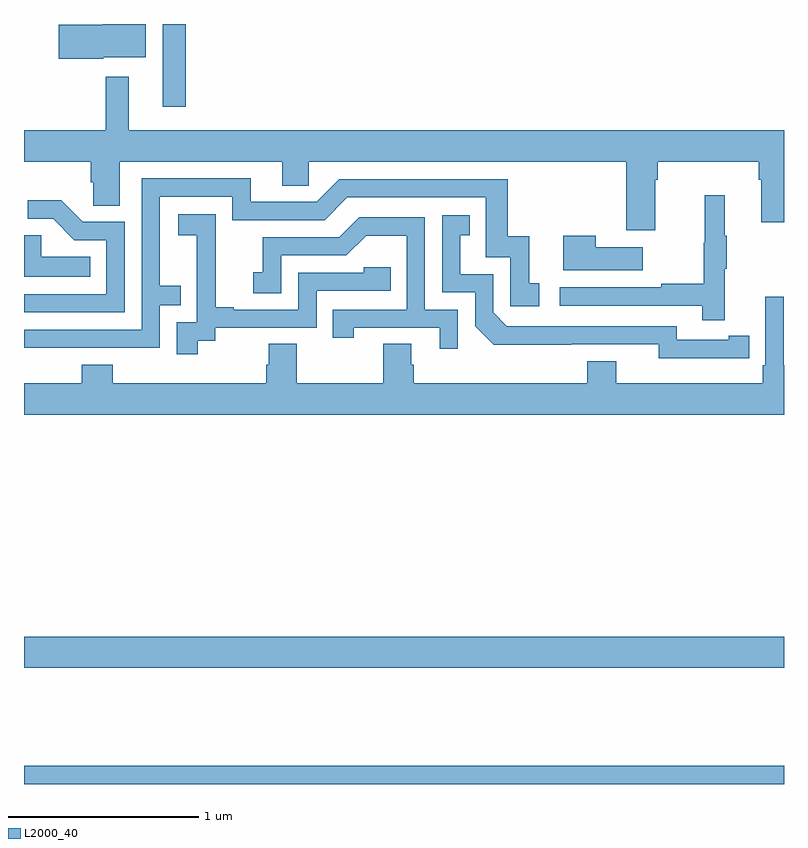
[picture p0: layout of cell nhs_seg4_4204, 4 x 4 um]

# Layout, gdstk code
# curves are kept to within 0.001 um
import gdstk
lib = gdstk.Library(unit=1e-6, precision=1e-09)
def R(c, l, rs):  # rectangles x0, y0, x1, y1
    for r in rs: c.add(gdstk.rectangle(r[:2], r[2:], *l))
def P(c, l, *ps):  # polygons
    for p in ps: c.add(gdstk.Polygon(p, *l))
L2000_40 = (2000, 40)

nhs_seg4_4204 = lib.new_cell('nhs_seg4_4204')
R(nhs_seg4_4204, L2000_40, [(335,770.9,339,770.996), (335,771.512,339,771.676), (335.729,774.465,335.851,774.9)])
P(nhs_seg4_4204, L2000_40, [(335.418,774.725),(335.641,774.725),(335.641,774.9),(335.414,774.9),(335.414,774.896),(335.184,774.896),(335.184,774.718),(335.418,774.718)],
  [(338.323,774.08),(338.336,774.08),(338.336,774.176),(338.867,774.176),(338.867,774.08),(338.879,774.08),(338.879,773.856),(339,773.856),(339,774.34),(335.551,774.34),(335.551,774.622),(335.43,774.622),(335.43,774.34),(335,774.34),(335,774.176),(335.351,774.176),(335.351,774.067),(335.364,774.067),(335.364,773.944),(335.503,773.944),(335.503,774.176),(336.359,774.176),(336.359,774.049),(336.498,774.049),(336.498,774.176),(338.171,774.176),(338.171,773.814),(338.323,773.814)],
  [(335.219,773.196),(335.715,773.196),(335.715,773.421),(335.825,773.421),(335.825,773.522),(335.715,773.522),(335.715,773.991),(336.096,773.991),(336.096,773.868),(336.582,773.868),(336.702,773.988),(337.431,773.988),(337.431,773.673),(337.56,773.673),(337.56,773.415),(337.711,773.415),(337.711,773.535),(337.658,773.535),(337.658,773.782),(337.547,773.782),(337.547,774.084),(336.66,774.084),(336.54,773.964),(336.193,773.964),(336.193,774.087),(335.619,774.087),(335.619,773.292),(335,773.292),(335,773.195)],
  [(338.687,773.611),(338.698,773.611),(338.698,773.785),(338.687,773.785),(338.687,773.998),(338.584,773.998),(338.584,773.748),(338.577,773.748),(338.577,773.534),(338.353,773.534),(338.353,773.514),(337.821,773.514),(337.821,773.418),(338.569,773.418),(338.569,773.34),(338.687,773.34)],
  [(335.529,773.859),(335.31,773.859),(335.197,773.972),(335.019,773.972),(335.019,773.874),(335.153,773.874),(335.264,773.763),(335.433,773.763),(335.433,773.478),(335,773.478),(335,773.382),(335.529,773.382)],
  [(335.914,773.233),(336.006,773.233),(336.006,773.301),(336.54,773.301),(336.54,773.496),(336.929,773.496),(336.929,773.619),(336.789,773.619),(336.789,773.592),(336.444,773.592),(336.444,773.397),(336.103,773.397),(336.103,773.41),(336.008,773.41),(336.008,773.693),(336.009,773.693),(336.009,773.899),(335.811,773.899),(335.811,773.789),(335.909,773.789),(335.909,773.561),(335.91,773.561),(335.91,773.331),(335.805,773.331),(335.805,773.163),(335.914,773.163)],
  [(338.708,773.142),(338.816,773.142),(338.816,773.258),(338.708,773.258),(338.708,773.238),(338.436,773.238),(338.436,773.31),(337.542,773.31),(337.47,773.382),(337.47,773.583),(337.297,773.583),(337.297,773.787),(337.346,773.787),(337.346,773.893),(337.2,773.893),(337.2,773.487),(337.374,773.487),(337.374,773.31),(337.472,773.213),(338.34,773.214),(338.34,773.141)],
  [(337.284,773.397),(337.11,773.397),(337.11,773.883),(336.764,773.883),(336.659,773.778),(336.256,773.778),(336.256,773.593),(336.207,773.593),(336.207,773.484),(336.354,773.484),(336.354,773.682),(336.696,773.682),(336.8,773.786),(337.014,773.786),(337.014,773.397),(336.625,773.397),(336.625,773.25),(336.736,773.25),(336.736,773.301),(337.187,773.301),(337.187,773.19),(337.284,773.19)],
  [(335.348,773.674),(335.091,773.674),(335.091,773.789),(335,773.789),(335,773.57),(335.348,773.57)],
  [(338.257,773.725),(338.009,773.725),(338.009,773.785),(337.838,773.785),(337.838,773.603),(338.257,773.603)],
  [(339,773.104),(338.998,773.104),(338.998,773.464),(338.901,773.464),(338.901,773.104),(338.888,773.104),(338.888,773.008),(338.116,773.008),(338.116,773.125),(337.964,773.125),(337.964,773.008),(337.052,773.008),(337.052,773.106),(337.039,773.106),(337.039,773.216),(336.892,773.216),(336.892,773.008),(336.435,773.008),(336.435,773.216),(336.287,773.216),(336.287,773.106),(336.275,773.106),(336.275,773.008),(335.468,773.008),(335.468,773.107),(335.303,773.107),(335.303,773.008),(335,773.008),(335,772.844),(339,772.844)])

lib.write_gds('nhs_seg4_4204.gds')
